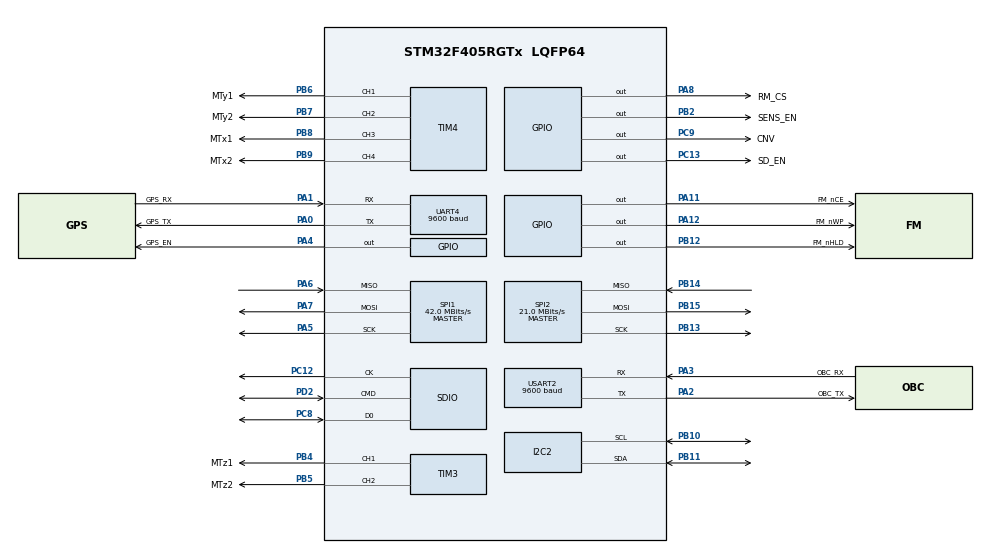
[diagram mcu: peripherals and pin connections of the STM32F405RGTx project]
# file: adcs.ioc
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Dma.Request0=USART2_TX
Dma.USART2_TX.0.Channel=DMA_CHANNEL_4
Dma.USART2_TX.0.Direction=DMA_MEMORY_TO_PERIPH
Dma.USART2_TX.0.FIFOMode=DMA_FIFOMODE_DISABLE
Dma.USART2_TX.0.Instance=DMA1_Stream6
Dma.USART2_TX.0.MemDataAlignment=DMA_MDATAALIGN_BYTE
Dma.USART2_TX.0.MemInc=DMA_MINC_ENABLE
Dma.USART2_TX.0.Mode=DMA_NORMAL
Dma.USART2_TX.0.PeriphDataAlignment=DMA_PDATAALIGN_BYTE
Dma.USART2_TX.0.PeriphInc=DMA_PINC_DISABLE
Dma.USART2_TX.0.Priority=DMA_PRIORITY_LOW
IWDG.Prescaler=IWDG_PRESCALER_256
Mcu.Family=STM32F4
Mcu.Name=STM32F405RGTx
Mcu.Package=LQFP64
Mcu.UserConstants=ControlLoop,50000
NVIC.DMA1_Stream6_IRQn=true\:0\:0\:false\:false\:true
NVIC.I2C2_EV_IRQn=true\:0\:0\:false\:false\:true
NVIC.PriorityGroup=NVIC_PRIORITYGROUP_4
NVIC.SPI1_IRQn=true\:0\:0\:false\:false\:true
NVIC.TIM7_IRQn=true\:0\:0\:false\:false\:true
NVIC.UART4_IRQn=true\:0\:0\:false\:false\:true
NVIC.USART2_IRQn=true\:0\:0\:false\:false\:true
PA0-WKUP.GPIO_Label=GPS_TX
PA0-WKUP.Mode=Asynchronous
PA0-WKUP.Signal=UART4_TX
PA1.GPIO_Label=GPS_RX
PA1.Mode=Asynchronous
PA1.Signal=UART4_RX
PA11.GPIO_Label=FM_nCE
PA11.Signal=GPIO_Output
PA12.GPIO_Label=FM_nWP
PA12.Signal=GPIO_Output
PA2.GPIO_Label=OBC_TX
PA2.Mode=Asynchronous
PA2.Signal=USART2_TX
PA3.GPIO_Label=OBC_RX
PA3.Mode=Asynchronous
PA3.Signal=USART2_RX
PA4.GPIO_Label=GPS_EN
PA4.Signal=GPIO_Output
PA5.Mode=Full_Duplex_Master
PA5.Signal=SPI1_SCK
PA6.Mode=Full_Duplex_Master
PA6.Signal=SPI1_MISO
PA7.Mode=Full_Duplex_Master
PA7.Signal=SPI1_MOSI
PA8.GPIO_Label=RM_CS
PA8.Signal=GPIO_Output
PB10.GPIO_PuPdOD=GPIO_NOPULL
PB10.Mode=I2C
PB10.Signal=I2C2_SCL
PB11.GPIO_PuPdOD=GPIO_NOPULL
PB11.Mode=I2C
PB11.Signal=I2C2_SDA
PB12.GPIO_Label=FM_nHLD
PB12.Signal=GPIO_Output
PB13.Mode=Full_Duplex_Master
PB13.Signal=SPI2_SCK
PB14.Mode=Full_Duplex_Master
PB14.Signal=SPI2_MISO
PB15.Mode=Full_Duplex_Master
PB15.Signal=SPI2_MOSI
PB2.GPIO_Label=SENS_EN
PB2.Signal=GPIO_Output
PB4.GPIO_Label=MTz1
PB4.Signal=S_TIM3_CH1
PB5.GPIO_Label=MTz2
PB5.Signal=S_TIM3_CH2
PB6.GPIO_Label=MTy1
PB6.Signal=S_TIM4_CH1
PB7.GPIO_Label=MTy2
PB7.Signal=S_TIM4_CH2
PB8.GPIO_Label=MTx1
PB8.Signal=S_TIM4_CH3
PB9.GPIO_Label=MTx2
PB9.Signal=S_TIM4_CH4
PC12.Mode=SD_1_bit
PC12.Signal=SDIO_CK
PC13-ANTI_TAMP.GPIO_Label=SD_EN
PC13-ANTI_TAMP.Signal=GPIO_Output
PC14-OSC32_IN.Mode=LSE-External-Oscillator
PC14-OSC32_IN.Signal=RCC_OSC32_IN
PC15-OSC32_OUT.Mode=LSE-External-Oscillator
PC15-OSC32_OUT.Signal=RCC_OSC32_OUT
PC8.Mode=SD_1_bit
PC8.Signal=SDIO_D0
PC9.GPIO_Label=CNV
PC9.Signal=GPIO_Output
PD2.Mode=SD_1_bit
PD2.Signal=SDIO_CMD
PH0-OSC_IN.Mode=HSE-External-Oscillator
PH0-OSC_IN.Signal=RCC_OSC_IN
PH1-OSC_OUT.Mode=HSE-External-Oscillator
PH1-OSC_OUT.Signal=RCC_OSC_OUT
ProjectManager.HeapSize=0x200
ProjectManager.StackSize=0x400
ProjectManager.TargetToolchain=SW4STM32
RCC.48MHZClocksFreq_Value=48000000
RCC.AHBFreq_Value=168000000
RCC.APB1CLKDivider=RCC_HCLK_DIV4
RCC.APB1Freq_Value=42000000
RCC.APB1TimFreq_Value=84000000
RCC.APB2CLKDivider=RCC_HCLK_DIV2
RCC.APB2Freq_Value=84000000
RCC.APB2TimFreq_Value=168000000
RCC.CortexFreq_Value=168000000
RCC.HCLKFreq_Value=168000000
RCC.HSE_VALUE=12000000
RCC.HSI_VALUE=16000000
RCC.PLLM=6
RCC.PLLN=168
RCC.PLLQ=7
RCC.PLLSourceVirtual=RCC_PLLSOURCE_HSE
RCC.SYSCLKFreq_VALUE=168000000
RCC.SYSCLKSource=RCC_SYSCLKSOURCE_PLLCLK
RCC.VCOOutputFreq_Value=336000000
SDIO.BusWide=SDIO_BUS_WIDE_1B
SH.S_TIM3_CH1.0=TIM3_CH1,PWM Generation1 CH1
SH.S_TIM3_CH2.0=TIM3_CH2,PWM Generation2 CH2
SH.S_TIM4_CH1.0=TIM4_CH1,PWM Generation1 CH1
SH.S_TIM4_CH2.0=TIM4_CH2,PWM Generation2 CH2
SH.S_TIM4_CH3.0=TIM4_CH3,PWM Generation3 CH3
SH.S_TIM4_CH4.0=TIM4_CH4,PWM Generation4 CH4
SPI1.BaudRatePrescaler=SPI_BAUDRATEPRESCALER_2
SPI1.CalculateBaudRate=42.0 MBits/s
SPI1.Mode=SPI_MODE_MASTER
SPI2.BaudRatePrescaler=SPI_BAUDRATEPRESCALER_2
SPI2.CalculateBaudRate=21.0 MBits/s
SPI2.Mode=SPI_MODE_MASTER
TIM3.Channel-PWM\ Generation2\ CH2=TIM_CHANNEL_2
TIM4.Channel-PWM\ Generation2\ CH2=TIM_CHANNEL_2
TIM4.Channel-PWM\ Generation3\ CH3=TIM_CHANNEL_3
TIM4.Channel-PWM\ Generation4\ CH4=TIM_CHANNEL_4
TIM7.Period=ControlLoop
TIM7.Prescaler=32
UART4.BaudRate=9600
USART2.BaudRate=9600
VP_CRC_VS_CRC.Mode=CRC_Activate
VP_IWDG_VS_IWDG.Mode=IWDG_Activate
VP_TIM7_VS_ClockSourceINT.Mode=Enable_Timer
board=adcs

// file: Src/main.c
/**
 ******************************************************************************
 * File Name          : main.c
 * Description        : Main program body
 ******************************************************************************
 *
 * COPYRIGHT(c) 2016 STMicroelectronics
 *
 * Redistribution and use in source and binary forms, with or without modification,
 * are permitted provided that the following conditions are met:
 *   1. Redistributions of source code must retain the above copyright notice,
 *      this list of conditions and the following disclaimer.
 *   2. Redistributions in binary form must reproduce the above copyright notice,
 *      this list of conditions and the following disclaimer in the documentation
 *      and/or other materials provided with the distribution.
 *   3. Neither the name of STMicroelectronics nor the names of its contributors
 *      may be used to endorse or promote products derived from this software
 *      without specific prior written permission.
 *
 * THIS SOFTWARE IS PROVIDED BY THE COPYRIGHT HOLDERS AND CONTRIBUTORS "AS IS"
 * AND ANY EXPRESS OR IMPLIED WARRANTIES, INCLUDING, BUT NOT LIMITED TO, THE
 * IMPLIED WARRANTIES OF MERCHANTABILITY AND FITNESS FOR A PARTICULAR PURPOSE ARE
 * DISCLAIMED. IN NO EVENT SHALL THE COPYRIGHT HOLDER OR CONTRIBUTORS BE LIABLE
 * FOR ANY DIRECT, INDIRECT, INCIDENTAL, SPECIAL, EXEMPLARY, OR CONSEQUENTIAL
 * DAMAGES (INCLUDING, BUT NOT LIMITED TO, PROCUREMENT OF SUBSTITUTE GOODS OR
 * SERVICES; LOSS OF USE, DATA, OR PROFITS; OR BUSINESS INTERRUPTION) HOWEVER
 * CAUSED AND ON ANY THEORY OF LIABILITY, WHETHER IN CONTRACT, STRICT LIABILITY,
 * OR TORT (INCLUDING NEGLIGENCE OR OTHERWISE) ARISING IN ANY WAY OUT OF THE USE
 * OF THIS SOFTWARE, EVEN IF ADVISED OF THE POSSIBILITY OF SUCH DAMAGE.
 *
 ******************************************************************************
 */
#include "stm32f4xx_hal.h"

/* USER CODE BEGIN Includes */
#include "adcs_configuration.h"
#include "adcs_state.h"
#include "adcs_control.h"
#include "adcs.h"
#include "service_utilities.h"
#include "log.h"
/* USER CODE END Includes */

CRC_HandleTypeDef hcrc;

I2C_HandleTypeDef hi2c2;

IWDG_HandleTypeDef hiwdg;

SD_HandleTypeDef hsd;
HAL_SD_CardInfoTypedef SDCardInfo;

SPI_HandleTypeDef hspi1;
SPI_HandleTypeDef hspi2;

TIM_HandleTypeDef htim3;
TIM_HandleTypeDef htim4;
TIM_HandleTypeDef htim7;

UART_HandleTypeDef huart4;
UART_HandleTypeDef huart2;
DMA_HandleTypeDef hdma_usart2_tx;

/* USER CODE BEGIN PV */
/* Private variables ---------------------------------------------------------*/

uint8_t uart_temp[500];
_adcs_state adcs_state;
_adcs_actuator adcs_actuator;
uint8_t dbg_msg = 0;

#pragma location = 0x0800C000
const uint32_t key[(16 * 1000) / 4];

/* USER CODE END PV */

void
SystemClock_Config (void);
static void
MX_GPIO_Init (void);
static void
MX_DMA_Init (void);
static void
MX_I2C2_Init (void);
static void
MX_SDIO_SD_Init (void);
static void
MX_SPI1_Init (void);
static void
MX_SPI2_Init (void);
static void
MX_TIM3_Init (void);
static void
MX_TIM4_Init (void);
static void
MX_UART4_Init (void);
static void
MX_USART2_UART_Init (void);
static void
MX_TIM7_Init (void);
static void
MX_CRC_Init (void);
static void
MX_IWDG_Init (void);

void
HAL_TIM_MspPostInit (TIM_HandleTypeDef *htim);

/* USER CODE BEGIN PFP */
/* Private function prototypes -----------------------------------------------*/

/* USER CODE END PFP */

int
main (void)
{

  /* MCU Configuration----------------------------------------------------------*/

  /* Reset of all peripherals, Initializes the Flash interface and the Systick. */
  HAL_Init ();

  /* Configure the system clock */
  SystemClock_Config ();

  /* Initialize all configured peripherals */
  MX_GPIO_Init ();
  MX_DMA_Init ();
  MX_I2C2_Init ();
  MX_SDIO_SD_Init ();
  MX_SPI1_Init ();
  MX_SPI2_Init ();
  MX_TIM3_Init ();
  MX_TIM4_Init ();
  MX_UART4_Init ();
  MX_USART2_UART_Init ();
  MX_TIM7_Init ();
  MX_CRC_Init ();
  MX_IWDG_Init ();

  /* USER CODE BEGIN 2 */

  /* Kick timer interrupt for timed threads */
  /*kick_TIM7_timed_interrupt(TIMED_EVENT_PERIOD);*/

  /* Switch ON sensors-GPS */
  adcs_switch (SWITCH_ON, SENSORS, &adcs_state);
  adcs_switch (SWITCH_ON, GPS, &adcs_state);

  /* GPS delay */
  //HAL_Delay(30000);
  init_sens (&adcs_state);
  init_magneto_torquer (&adcs_actuator);
  gps_init (adcs_state.gps_buf);

  /* ecss */
  uint8_t rsrc = 0;
  HAL_reset_source (&rsrc);
  set_reset_source (rsrc);
  pkt_pool_INIT ();
  uint16_t size = 0;
  event_crt_pkt_api (uart_temp, "ADCS STARTED", 666, 666, "", &size, SATR_OK);
  HAL_uart_tx (DBG_APP_ID, (uint8_t *) uart_temp, size);
  event_dbg_api (uart_temp, "ADCS STARTED\n", &size);
  HAL_uart_tx (DBG_APP_ID, (uint8_t *) uart_temp, size);
  HAL_UART_Receive_IT (&huart2, adcs_data.obc_uart.uart_buf, UART_BUF_SIZE);

  /*
   TLE

   ISS (ZARYA)
   1 25544U 98067A   16118.56765286  .00004329  00000-0  72029-4 0  9994
   2 25544  51.6443 310.5306 0002107  73.7950  28.9464 15.54350419997100
   NaN

   ISS (ZARYA)
   1 25544U 98067A   16124.14033565  .00005548  00000-0  90051-4 0  9992
   2 25544  51.6441 282.7446 0001865  87.1449 259.7301 15.54414600997966
   OK

   ISS (ZARYA)
   1 25544U 98067A   16137.55001157  .00005721  00000-0  91983-4 0  9991
   2 25544  51.6440 215.8562 0001995 108.3968  92.4187 15.54614828    61
   OK
   */
  adcs_state.orb_tle.ep_year = 16;
  adcs_state.orb_tle.ep_day = 137.55001157;
  adcs_state.orb_tle.rev = 15.54614828;
  adcs_state.orb_tle.bstar = 0.00175395 * powf (10.0, -5);
  adcs_state.orb_tle.eqinc = RAD(51.6440);
  adcs_state.orb_tle.ecc = 0.0001995;
  adcs_state.orb_tle.mnan = RAD(92.4187);
  adcs_state.orb_tle.argp = RAD(108.3968);
  adcs_state.orb_tle.ascn = RAD(215.8562);
  adcs_state.orb_tle.norb = 0;
  adcs_state.orb_tle.satno = 13;
  update_tle (&adcs_state);
  uint8_t tleup = 0;

  uint8_t gps_cnt = 0;
  uint8_t gps_flag = 0;
  uint8_t *gps_buf;
  uint8_t test_buf[100];

  adcs_actuator.RPM = 10;
  adcs_actuator.rampTime = 0;
  adcs_actuator.current_x = 0;
  adcs_actuator.current_y = 0;

  //flash_write_trasmit(0xffaf0f6412);

  /* USER CODE END 2 */

  /* Infinite loop */
  /* USER CODE BEGIN WHILE */
  while (1) {

    import_pkt (OBC_APP_ID, &adcs_data.obc_uart);

    update_spin_torquer (&adcs_actuator);
    update_magneto_torquer (&adcs_actuator);

    /* ADCS tests */
    switch (dbg_msg)
      {
      case 0:
	break;
      case 1:
	snprintf (test_buf, 100, "m %.3f %.3f %.3f\n", adcs_state.rm_mag[0],
		  adcs_state.rm_mag[1], adcs_state.rm_mag[2]);
	event_dbg_api (uart_temp, test_buf, &size);
	HAL_uart_tx (DBG_APP_ID, (uint8_t *) uart_temp, size);
	break;
      case 2:
	snprintf (test_buf, 100, "g %.3f %.3f %.3f\n", adcs_state.gyr[0],
		  adcs_state.gyr[1], adcs_state.gyr[2]);
	event_dbg_api (uart_temp, test_buf, &size);
	HAL_uart_tx (DBG_APP_ID, (uint8_t *) uart_temp, size);
	break;
      case 3:
	snprintf (test_buf, 100, "v %.3f %.3f %.3f %.3f %.3f\n",
		  adcs_state.v_sun[0], adcs_state.v_sun[1], adcs_state.v_sun[2],
		  adcs_state.v_sun[3], adcs_state.v_sun[4],
		  adcs_state.v_sun[5]);
	event_dbg_api (uart_temp, test_buf, &size);
	HAL_uart_tx (DBG_APP_ID, (uint8_t *) uart_temp, size);
	break;
      case 4:
	snprintf (test_buf, 100, "l %.3f %.3f\n", adcs_state.long_sun,
		  adcs_state.lat_sun);
	event_dbg_api (uart_temp, test_buf, &size);
	HAL_uart_tx (DBG_APP_ID, (uint8_t *) uart_temp, size);
	break;
      case 5:
	snprintf (test_buf, 100, "s %d, %d\n", adcs_actuator.m_RPM,
		  adcs_actuator.flag);
	event_dbg_api (uart_temp, test_buf, &size);
	HAL_uart_tx (DBG_APP_ID, (uint8_t *) uart_temp, size);
	break;
      case 6:
	snprintf (test_buf, 100, "t %.3f\n", adcs_state.temp_c);
	event_dbg_api (uart_temp, test_buf, &size);
	HAL_uart_tx (DBG_APP_ID, (uint8_t *) uart_temp, size);
	break;
      case 8:
	for (gps_cnt = 0; gps_cnt < 10; gps_cnt++) {
	  gps_buf = get_gps_buff (gps_cnt, &gps_flag);

	  if (gps_flag == 1) {
	    reset_gps_flag (gps_cnt);
	    size = 0;
	    event_dbg_api (uart_temp, gps_buf, &size);
	    HAL_uart_tx (DBG_APP_ID, (uint8_t *) uart_temp, size);
	    HAL_Delay (10);
	  }
	}
	break;
      default:
	break;
      }
    HAL_Delay (100);

    /* CubeSat propagator */
    LOG_UART_FILE(&huart2, "%.5f \t", adcs_state.jd);

    update_sgdp4 (&adcs_state);
    update_geomag (&adcs_state);
    update_sun_pos (&adcs_state);
    if (tleup == 1) {
      calculate_tle (&adcs_state);
      update_tle (&adcs_state);
      tleup = 0;
    }

    /* Update ADCS state */
    update_sens (&adcs_state);

    LOG_UART_FILE(&huart2, "%.3f \t %.3f \t %.3f \n", adcs_state.p_ECEF_LLH.alt,
		  adcs_state.p_ECEF_LLH.lat, adcs_state.p_ECEF_LLH.lon);

    /* USER CODE END WHILE */

  }

}

/** System Clock Configuration
 */
void
SystemClock_Config (void)
{

  RCC_OscInitTypeDef RCC_OscInitStruct;
  RCC_ClkInitTypeDef RCC_ClkInitStruct;

  __HAL_RCC_PWR_CLK_ENABLE()
  ;

  __HAL_PWR_VOLTAGESCALING_CONFIG(PWR_REGULATOR_VOLTAGE_SCALE1);

  RCC_OscInitStruct.OscillatorType = RCC_OSCILLATORTYPE_LSI
      | RCC_OSCILLATORTYPE_HSE;
  RCC_OscInitStruct.HSEState = RCC_HSE_ON;
  RCC_OscInitStruct.LSIState = RCC_LSI_ON;
  RCC_OscInitStruct.PLL.PLLState = RCC_PLL_ON;
  RCC_OscInitStruct.PLL.PLLSource = RCC_PLLSOURCE_HSE;
  RCC_OscInitStruct.PLL.PLLM = 6;
  RCC_OscInitStruct.PLL.PLLN = 168;
  RCC_OscInitStruct.PLL.PLLP = RCC_PLLP_DIV2;
  RCC_OscInitStruct.PLL.PLLQ = 7;
  HAL_RCC_OscConfig (&RCC_OscInitStruct);

  RCC_ClkInitStruct.ClockType = RCC_CLOCKTYPE_HCLK | RCC_CLOCKTYPE_SYSCLK
      | RCC_CLOCKTYPE_PCLK1 | RCC_CLOCKTYPE_PCLK2;
  RCC_ClkInitStruct.SYSCLKSource = RCC_SYSCLKSOURCE_PLLCLK;
  RCC_ClkInitStruct.AHBCLKDivider = RCC_SYSCLK_DIV1;
  RCC_ClkInitStruct.APB1CLKDivider = RCC_HCLK_DIV4;
  RCC_ClkInitStruct.APB2CLKDivider = RCC_HCLK_DIV2;
  HAL_RCC_ClockConfig (&RCC_ClkInitStruct, FLASH_LATENCY_5);

  HAL_SYSTICK_Config (HAL_RCC_GetHCLKFreq () / 1000);

  HAL_SYSTICK_CLKSourceConfig (SYSTICK_CLKSOURCE_HCLK);

  /* SysTick_IRQn interrupt configuration */
  HAL_NVIC_SetPriority (SysTick_IRQn, 0, 0);
}

/* CRC init function */
void
MX_CRC_Init (void)
{

  hcrc.Instance = CRC;
  HAL_CRC_Init (&hcrc);

}

/* I2C2 init function */
void
MX_I2C2_Init (void)
{

  hi2c2.Instance = I2C2;
  hi2c2.Init.ClockSpeed = 100000;
  hi2c2.Init.DutyCycle = I2C_DUTYCYCLE_2;
  hi2c2.Init.OwnAddress1 = 0;
  hi2c2.Init.AddressingMode = I2C_ADDRESSINGMODE_7BIT;
  hi2c2.Init.DualAddressMode = I2C_DUALADDRESS_DISABLE;
  hi2c2.Init.OwnAddress2 = 0;
  hi2c2.Init.GeneralCallMode = I2C_GENERALCALL_DISABLE;
  hi2c2.Init.NoStretchMode = I2C_NOSTRETCH_DISABLE;
  HAL_I2C_Init (&hi2c2);

}

/* IWDG init function */
void
MX_IWDG_Init (void)
{

  hiwdg.Instance = IWDG;
  hiwdg.Init.Prescaler = IWDG_PRESCALER_256;
  hiwdg.Init.Reload = 4095;
  HAL_IWDG_Init (&hiwdg);

}

/* SDIO init function */
void
MX_SDIO_SD_Init (void)
{

  hsd.Instance = SDIO;
  hsd.Init.ClockEdge = SDIO_CLOCK_EDGE_RISING;
  hsd.Init.ClockBypass = SDIO_CLOCK_BYPASS_DISABLE;
  hsd.Init.ClockPowerSave = SDIO_CLOCK_POWER_SAVE_DISABLE;
  hsd.Init.BusWide = SDIO_BUS_WIDE_1B;
  hsd.Init.HardwareFlowControl = SDIO_HARDWARE_FLOW_CONTROL_DISABLE;
  hsd.Init.ClockDiv = 0;
  HAL_SD_Init (&hsd, &SDCardInfo);

}

/* SPI1 init function */
void
MX_SPI1_Init (void)
{

  hspi1.Instance = SPI1;
  hspi1.Init.Mode = SPI_MODE_MASTER;
  hspi1.Init.Direction = SPI_DIRECTION_2LINES;
  hspi1.Init.DataSize = SPI_DATASIZE_8BIT;
  hspi1.Init.CLKPolarity = SPI_POLARITY_LOW;
  hspi1.Init.CLKPhase = SPI_PHASE_1EDGE;
  hspi1.Init.NSS = SPI_NSS_SOFT;
  hspi1.Init.BaudRatePrescaler = SPI_BAUDRATEPRESCALER_16;
  hspi1.Init.FirstBit = SPI_FIRSTBIT_MSB;
  hspi1.Init.TIMode = SPI_TIMODE_DISABLE;
  hspi1.Init.CRCCalculation = SPI_CRCCALCULATION_DISABLE;
  hspi1.Init.CRCPolynomial = 10;
  HAL_SPI_Init (&hspi1);

}

/* SPI2 init function */
void
MX_SPI2_Init (void)
{

  hspi2.Instance = SPI2;
  hspi2.Init.Mode = SPI_MODE_MASTER;
  hspi2.Init.Direction = SPI_DIRECTION_2LINES;
  hspi2.Init.DataSize = SPI_DATASIZE_8BIT;
  hspi2.Init.CLKPolarity = SPI_POLARITY_LOW;
  hspi2.Init.CLKPhase = SPI_PHASE_1EDGE;
  hspi2.Init.NSS = SPI_NSS_SOFT;
  hspi2.Init.BaudRatePrescaler = SPI_BAUDRATEPRESCALER_16;
  hspi2.Init.FirstBit = SPI_FIRSTBIT_MSB;
  hspi2.Init.TIMode = SPI_TIMODE_DISABLE;
  hspi2.Init.CRCCalculation = SPI_CRCCALCULATION_DISABLE;
  hspi2.Init.CRCPolynomial = 10;
  HAL_SPI_Init (&hspi2);

}

/* TIM3 init function */
void
MX_TIM3_Init (void)
{

  TIM_MasterConfigTypeDef sMasterConfig;
  TIM_OC_InitTypeDef sConfigOC;

  htim3.Instance = TIM3;
  htim3.Init.Prescaler = 0;
  htim3.Init.CounterMode = TIM_COUNTERMODE_UP;
  htim3.Init.Period = 0;
  htim3.Init.ClockDivision = TIM_CLOCKDIVISION_DIV1;
  HAL_TIM_PWM_Init (&htim3);

  sMasterConfig.MasterOutputTrigger = TIM_TRGO_RESET;
  sMasterConfig.MasterSlaveMode = TIM_MASTERSLAVEMODE_DISABLE;
  HAL_TIMEx_MasterConfigSynchronization (&htim3, &sMasterConfig);

  sConfigOC.OCMode = TIM_OCMODE_PWM1;
  sConfigOC.Pulse = 0;
  sConfigOC.OCPolarity = TIM_OCPOLARITY_HIGH;
  sConfigOC.OCFastMode = TIM_OCFAST_DISABLE;
  HAL_TIM_PWM_ConfigChannel (&htim3, &sConfigOC, TIM_CHANNEL_1);

  HAL_TIM_PWM_ConfigChannel (&htim3, &sConfigOC, TIM_CHANNEL_2);

  HAL_TIM_MspPostInit (&htim3);

}

/* TIM4 init function */
void
MX_TIM4_Init (void)
{

  TIM_MasterConfigTypeDef sMasterConfig;
  TIM_OC_InitTypeDef sConfigOC;

  htim4.Instance = TIM4;
  htim4.Init.Prescaler = 0;
  htim4.Init.CounterMode = TIM_COUNTERMODE_UP;
  htim4.Init.Period = 0;
  htim4.Init.ClockDivision = TIM_CLOCKDIVISION_DIV1;
  HAL_TIM_PWM_Init (&htim4);

  sMasterConfig.MasterOutputTrigger = TIM_TRGO_RESET;
  sMasterConfig.MasterSlaveMode = TIM_MASTERSLAVEMODE_DISABLE;
  HAL_TIMEx_MasterConfigSynchronization (&htim4, &sMasterConfig);

  sConfigOC.OCMode = TIM_OCMODE_PWM1;
  sConfigOC.Pulse = 0;
  sConfigOC.OCPolarity = TIM_OCPOLARITY_HIGH;
  sConfigOC.OCFastMode = TIM_OCFAST_DISABLE;
  HAL_TIM_PWM_ConfigChannel (&htim4, &sConfigOC, TIM_CHANNEL_1);

  HAL_TIM_PWM_ConfigChannel (&htim4, &sConfigOC, TIM_CHANNEL_2);

  HAL_TIM_PWM_ConfigChannel (&htim4, &sConfigOC, TIM_CHANNEL_3);

  HAL_TIM_PWM_ConfigChannel (&htim4, &sConfigOC, TIM_CHANNEL_4);

  HAL_TIM_MspPostInit (&htim4);

}

/* TIM7 init function */
void
MX_TIM7_Init (void)
{

  TIM_MasterConfigTypeDef sMasterConfig;

  htim7.Instance = TIM7;
  htim7.Init.Prescaler = 32;
  htim7.Init.CounterMode = TIM_COUNTERMODE_UP;
  htim7.Init.Period = ControlLoop;
  HAL_TIM_Base_Init (&htim7);

  sMasterConfig.MasterOutputTrigger = TIM_TRGO_RESET;
  sMasterConfig.MasterSlaveMode = TIM_MASTERSLAVEMODE_DISABLE;
  HAL_TIMEx_MasterConfigSynchronization (&htim7, &sMasterConfig);

}

/* UART4 init function */
void
MX_UART4_Init (void)
{

  huart4.Instance = UART4;
  huart4.Init.BaudRate = 9600;
  huart4.Init.WordLength = UART_WORDLENGTH_8B;
  huart4.Init.StopBits = UART_STOPBITS_1;
  huart4.Init.Parity = UART_PARITY_NONE;
  huart4.Init.Mode = UART_MODE_TX_RX;
  huart4.Init.HwFlowCtl = UART_HWCONTROL_NONE;
  huart4.Init.OverSampling = UART_OVERSAMPLING_16;
  HAL_UART_Init (&huart4);

}

/* USART2 init function */
void
MX_USART2_UART_Init (void)
{

  huart2.Instance = USART2;
  huart2.Init.BaudRate = 9600;
  huart2.Init.WordLength = UART_WORDLENGTH_8B;
  huart2.Init.StopBits = UART_STOPBITS_1;
  huart2.Init.Parity = UART_PARITY_NONE;
  huart2.Init.Mode = UART_MODE_TX_RX;
  huart2.Init.HwFlowCtl = UART_HWCONTROL_NONE;
  huart2.Init.OverSampling = UART_OVERSAMPLING_16;
  HAL_UART_Init (&huart2);

}

void
MX_DMA_Init (void)
{
  /* DMA controller clock enable */
  __HAL_RCC_DMA1_CLK_ENABLE()
  ;

  /* DMA interrupt init */
  /* DMA1_Stream6_IRQn interrupt configuration */
  HAL_NVIC_SetPriority (DMA1_Stream6_IRQn, 0, 0);
  HAL_NVIC_EnableIRQ (DMA1_Stream6_IRQn);

}

/** Configure pins as
 * Analog
 * Input
 * Output
 * EVENT_OUT
 * EXTI
 */
void
MX_GPIO_Init (void)
{

  GPIO_InitTypeDef GPIO_InitStruct;

  /* GPIO Ports Clock Enable */
  __HAL_RCC_GPIOC_CLK_ENABLE()
  ;
  __HAL_RCC_GPIOH_CLK_ENABLE()
  ;
  __HAL_RCC_GPIOA_CLK_ENABLE()
  ;
  __HAL_RCC_GPIOB_CLK_ENABLE()
  ;
  __HAL_RCC_GPIOD_CLK_ENABLE()
  ;

  /*Configure GPIO pin Output Level */
  HAL_GPIO_WritePin (GPIOC, SD_EN_Pin | CNV_Pin, GPIO_PIN_RESET);

  /*Configure GPIO pin Output Level */
  HAL_GPIO_WritePin (GPIOA, GPS_EN_Pin | RM_CS_Pin | FM_nCE_Pin | FM_nWP_Pin,
		     GPIO_PIN_RESET);

  /*Configure GPIO pin Output Level */
  HAL_GPIO_WritePin (GPIOB, SENS_EN_Pin | FM_nHLD_Pin, GPIO_PIN_RESET);

  /*Configure GPIO pins : SD_EN_Pin CNV_Pin */
  GPIO_InitStruct.Pin = SD_EN_Pin | CNV_Pin;
  GPIO_InitStruct.Mode = GPIO_MODE_OUTPUT_PP;
  GPIO_InitStruct.Pull = GPIO_NOPULL;
  GPIO_InitStruct.Speed = GPIO_SPEED_FREQ_LOW;
  HAL_GPIO_Init (GPIOC, &GPIO_InitStruct);

  /*Configure GPIO pins : GPS_EN_Pin RM_CS_Pin FM_nCE_Pin FM_nWP_Pin */
  GPIO_InitStruct.Pin = GPS_EN_Pin | RM_CS_Pin | FM_nCE_Pin | FM_nWP_Pin;
  GPIO_InitStruct.Mode = GPIO_MODE_OUTPUT_PP;
  GPIO_InitStruct.Pull = GPIO_NOPULL;
  GPIO_InitStruct.Speed = GPIO_SPEED_FREQ_LOW;
  HAL_GPIO_Init (GPIOA, &GPIO_InitStruct);

  /*Configure GPIO pins : SENS_EN_Pin FM_nHLD_Pin */
  GPIO_InitStruct.Pin = SENS_EN_Pin | FM_nHLD_Pin;
  GPIO_InitStruct.Mode = GPIO_MODE_OUTPUT_PP;
  GPIO_InitStruct.Pull = GPIO_NOPULL;
  GPIO_InitStruct.Speed = GPIO_SPEED_FREQ_LOW;
  HAL_GPIO_Init (GPIOB, &GPIO_InitStruct);

}

/************************ (C) COPYRIGHT STMicroelectronics *****END OF FILE****/
